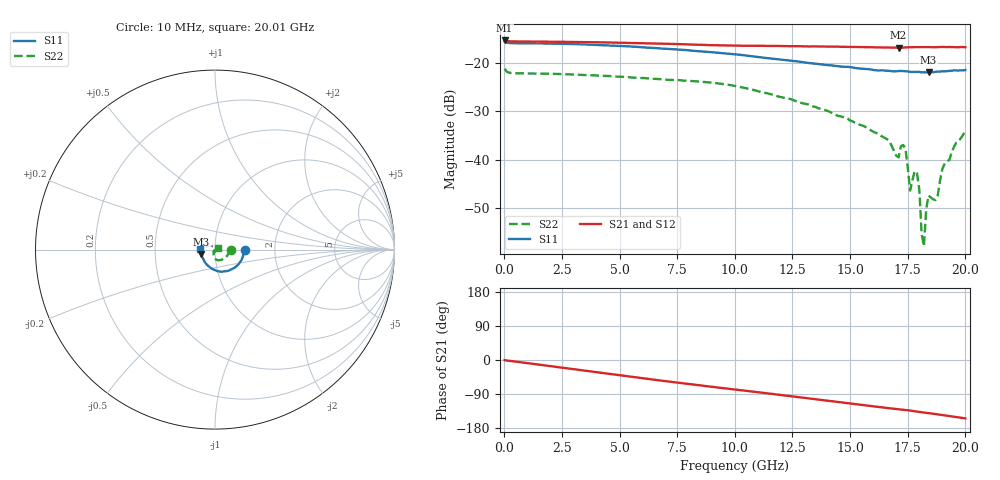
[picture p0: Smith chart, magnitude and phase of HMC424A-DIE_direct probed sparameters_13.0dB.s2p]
!s2p File: Measurements: S11, S21, S12, S22
# GHz S dB R 50.0
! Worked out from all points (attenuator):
!   201 points, 10 MHz to 20.01 GHz, reference 50 ohm
!   highest |S21| = -15.29 dB at 10 MHz (marker M1); lowest = -16.8 dB at 17.11 GHz (marker M2)
!   lowest |S11| = -21.9 dB at 18.41 GHz (marker M3), VSWR 1.17, Z = 42.9 - j2.14 ohm
!   |S11| at or under -10 dB: start of sweep to end of sweep
!   |S22| runs from -57.9 to -21.1 dB; largest |S21 - S12| = 0.0014
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0.01  -15.49 -0.8  -15.29 -0.3  -15.30 -0.4  -21.13 -1.6
0.31  -15.85 -2.9  -15.48 -2.8  -15.48 -2.8  -22.04 -4.0
3.41  -16.10 -25.8  -15.63 -27.6  -15.62 -27.6  -22.43 -28.1
6.71  -16.93 -51.8  -15.93 -53.7  -15.93 -53.7  -23.29 -53.2
10.01  -18.16 -79.8  -16.36 -77.8  -16.37 -77.8  -24.71 -80.6
13.41  -20.06 -110.8  -16.52 -102.8  -16.54 -102.8  -28.97 -101.8
16.71  -21.59 -144.4  -16.76 -127.2  -16.74 -127.2  -36.11 -115.7
17.11  -21.63 -147.8  -16.80 -130.1  -16.73 -130.1  -39.51 -100.0
17.21  -21.60 -149.1  -16.79 -130.7  -16.74 -130.8  -37.21 -97.7
17.41  -21.65 -151.5  -16.73 -131.9  -16.75 -132.3  -37.72 -126.8
17.61  -21.79 -153.4  -16.69 -133.3  -16.73 -133.8  -46.38 -121.2
17.81  -21.82 -154.7  -16.67 -135.1  -16.70 -135.2  -42.33 -90.9
17.91  -21.81 -155.8  -16.66 -136.2  -16.70 -136.1  -42.80 -109.1
18.01  -21.80 -157.5  -16.67 -137.0  -16.71 -136.9  -46.14 -124.2
18.11  -21.91 -158.5  -16.67 -137.8  -16.72 -137.6  -55.30 -129.3
18.21  -21.88 -159.8  -16.66 -138.6  -16.70 -138.5  -57.91 -28.1
18.31  -21.90 -161.0  -16.65 -139.5  -16.68 -139.3  -50.23 -0.1
18.41  -21.92 -162.0  -16.67 -140.2  -16.69 -140.1  -47.41 -20.9
18.71  -21.78 -164.7  -16.68 -142.6  -16.68 -142.4  -48.38 2.7
18.81  -21.72 -166.3  -16.65 -143.5  -16.67 -143.2  -47.42 19.6
19.01  -21.69 -168.7  -16.63 -145.2  -16.66 -145.1  -41.92 29.6
20.01  -21.42 179.6  -16.70 -154.1  -16.68 -154.0  -33.93 28.3
